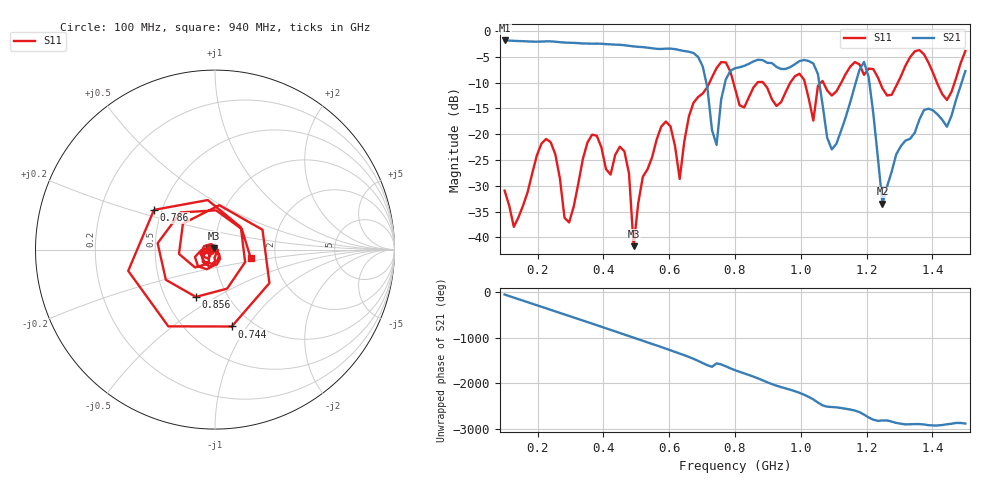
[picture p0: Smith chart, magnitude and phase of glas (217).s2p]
! NanoVNA-App
! Date: 2025-09-25 15:57:09
! Start: 100MHz Stop: 1,5GHz Points: 101
! S-Parameter data: F S11 S21 S12 S22
# Hz S RI R 50
!  Frequency  S11_Real  S11_Imag  S21_Real  S21_Imag  S12_Real  S12_Imag  S22_Real  S22_Imag
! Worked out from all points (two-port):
!   101 points, 100 MHz to 1.5 GHz, reference 50 ohm
!   highest |S21| = -1.80 dB at 100 MHz (marker M1); lowest = -33.5 dB at 1.248 GHz (marker M2)
!   |S21| within 3 dB of the highest: start of sweep to 684.1 MHz
!   lowest |S11| = -41.7 dB at 492 MHz (marker M3), VSWR 1.02, Z = 49.5 + j0.628 ohm
!   |S11| at or under -10 dB: start of sweep to 722.3 MHz; 795.3 MHz to 868.2 MHz (72.85 MHz wide, 8.76 % of centre); 885.8 MHz to 967.9 MHz (82.07 MHz wide, 8.85 % of centre) (the widest 3 of 7)
!   S12 and S22 are empty: the file has one direction only
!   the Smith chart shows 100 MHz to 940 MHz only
!   S11 on the Smith chart (normalised r, x): 100 MHz: 0.95, -0.01; 744 MHz: 0.80, -0.85; 786 MHz: 0.45, +0.24; 856 MHz: 0.71, -0.41; 940 MHz: 1.49, -0.15
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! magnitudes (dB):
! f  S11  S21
! 100 MHz  -30.9  -1.8
! 128 MHz  -38.0  -1.9
! 226 MHz  -20.9  -2.0
! 296 MHz  -37.1  -2.2
! 338 MHz  -24.7  -2.4
! 464 MHz  -23.3  -2.7
! 492 MHz  -41.7  -3.0
! 576 MHz  -18.5  -3.5
! 632 MHz  -28.7  -3.7
! 702 MHz  -12.1  -6.9
! 744 MHz  -7.2  -22.1
! 786 MHz  -7.8  -7.7
! 800 MHz  -11.1  -7.2
! 856 MHz  -10.9  -5.9
! 940 MHz  -13.8  -7.3
! 996 MHz  -8.3  -5.8
! 1.038 GHz  -17.4  -6.3
! 1.094 GHz  -12.5  -22.9
! 1.192 GHz  -8.5  -6.0
! 1.248 GHz  -11.1  -33.5
! 1.276 GHz  -12.3  -27.3
! 1.5 GHz  -3.9  -7.7
